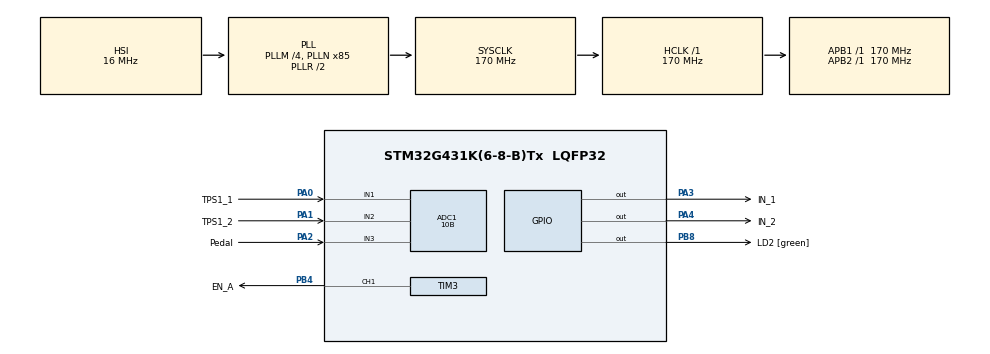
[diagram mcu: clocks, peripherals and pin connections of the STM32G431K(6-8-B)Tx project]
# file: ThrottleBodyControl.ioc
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ADC1.Channel-0\#ChannelRegularConversion=ADC_CHANNEL_1
ADC1.Channel-1\#ChannelRegularConversion=ADC_CHANNEL_2
ADC1.Channel-2\#ChannelRegularConversion=ADC_CHANNEL_3
ADC1.ContinuousConvMode=ENABLE
ADC1.DMAContinuousRequests=ENABLE
ADC1.NbrOfConversion=3
ADC1.NbrOfConversionFlag=1
ADC1.OffsetNumber-0\#ChannelRegularConversion=ADC_OFFSET_NONE
ADC1.OffsetNumber-1\#ChannelRegularConversion=ADC_OFFSET_NONE
ADC1.OffsetNumber-2\#ChannelRegularConversion=ADC_OFFSET_NONE
ADC1.Rank-0\#ChannelRegularConversion=1
ADC1.Rank-1\#ChannelRegularConversion=2
ADC1.Rank-2\#ChannelRegularConversion=3
ADC1.Resolution=ADC_RESOLUTION_10B
ADC1.SamplingTime-0\#ChannelRegularConversion=ADC_SAMPLETIME_12CYCLES_5
ADC1.SamplingTime-1\#ChannelRegularConversion=ADC_SAMPLETIME_12CYCLES_5
ADC1.SamplingTime-2\#ChannelRegularConversion=ADC_SAMPLETIME_12CYCLES_5
ADC1.master=1
Dma.ADC1.0.Direction=DMA_PERIPH_TO_MEMORY
Dma.ADC1.0.EventEnable=DISABLE
Dma.ADC1.0.Instance=DMA1_Channel1
Dma.ADC1.0.MemDataAlignment=DMA_MDATAALIGN_HALFWORD
Dma.ADC1.0.MemInc=DMA_MINC_ENABLE
Dma.ADC1.0.Mode=DMA_CIRCULAR
Dma.ADC1.0.PeriphDataAlignment=DMA_PDATAALIGN_HALFWORD
Dma.ADC1.0.PeriphInc=DMA_PINC_DISABLE
Dma.ADC1.0.Polarity=HAL_DMAMUX_REQ_GEN_RISING
Dma.ADC1.0.Priority=DMA_PRIORITY_LOW
Dma.ADC1.0.RequestNumber=1
Dma.ADC1.0.SignalID=NONE
Dma.ADC1.0.SyncEnable=DISABLE
Dma.ADC1.0.SyncPolarity=HAL_DMAMUX_SYNC_NO_EVENT
Dma.ADC1.0.SyncRequestNumber=1
Dma.ADC1.0.SyncSignalID=NONE
Dma.Request0=ADC1
Mcu.Family=STM32G4
Mcu.Name=STM32G431K(6-8-B)Tx
Mcu.Package=LQFP32
NVIC.DMA1_Channel1_IRQn=true\:0\:0\:false\:false\:true\:false\:true\:true
NVIC.PriorityGroup=NVIC_PRIORITYGROUP_4
PA0.GPIO_Label=TPS1_1
PA0.Mode=IN1-Single-Ended
PA0.Signal=ADC1_IN1
PA1.GPIO_Label=TPS1_2
PA1.Mode=IN2-Single-Ended
PA1.Signal=ADC1_IN2
PA13.GPIO_Label=T_SWDIO
PA13.Mode=Serial_Wire
PA13.Signal=SYS_JTMS-SWDIO
PA14.GPIO_Label=T_SWCLK
PA14.Mode=Serial_Wire
PA14.Signal=SYS_JTCK-SWCLK
PA2.GPIO_Label=Pedal
PA2.Mode=IN3-Single-Ended
PA2.Signal=ADC1_IN3
PA3.GPIO_Label=IN_1
PA3.GPIO_PuPd=GPIO_PULLDOWN
PA3.PinState=GPIO_PIN_SET
PA3.Signal=GPIO_Output
PA4.GPIO_Label=IN_2
PA4.GPIO_PuPd=GPIO_PULLDOWN
PA4.Signal=GPIO_Output
PB3.GPIO_Label=T_SWO
PB3.Signal=SYS_JTDO-SWO
PB4.GPIO_Label=EN_A
PB4.Signal=S_TIM3_CH1
PB8-BOOT0.GPIO_Label=LD2 [green]
PB8-BOOT0.Signal=GPIO_Output
ProjectManager.HeapSize=0x200
ProjectManager.StackSize=0x400
ProjectManager.TargetToolchain=STM32CubeIDE
RCC.ADC12Freq_Value=170000000
RCC.AHBFreq_Value=170000000
RCC.APB1Freq_Value=170000000
RCC.APB1TimFreq_Value=170000000
RCC.APB2Freq_Value=170000000
RCC.APB2TimFreq_Value=170000000
RCC.CortexFreq_Value=170000000
RCC.EXTERNAL_CLOCK_VALUE=12288000
RCC.HCLKFreq_Value=170000000
RCC.HSE_VALUE=8000000
RCC.HSI48_VALUE=48000000
RCC.HSI_VALUE=16000000
RCC.LSE_VALUE=32768
RCC.PLLM=RCC_PLLM_DIV4
RCC.PLLN=85
RCC.SYSCLKFreq_VALUE=170000000
RCC.SYSCLKSource=RCC_SYSCLKSOURCE_PLLCLK
RCC.USBFreq_Value=170000000
RCC.VCOOutputFreq_Value=340000000
SH.S_TIM3_CH1.0=TIM3_CH1,PWM Generation1 CH1
TIM3.AutoReloadPreload=TIM_AUTORELOAD_PRELOAD_ENABLE
TIM3.Channel-PWM\ Generation1\ CH1=TIM_CHANNEL_1
TIM3.OCMode_PWM-PWM\ Generation1\ CH1=TIM_OCMODE_PWM1
TIM3.PeriodNoDither=1024-1
TIM3.Prescaler=333-1
VP_SYS_VS_DBSignals.Mode=DisableDeadBatterySignals
VP_TIM3_VS_ClockSourceINT.Mode=Internal
board=NUCLEO-G431KB

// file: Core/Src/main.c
/* USER CODE BEGIN Header */
/**
  ******************************************************************************
  * @file           : main.c
  * @brief          : Main program body
  ******************************************************************************
  * @attention
  *
  * Copyright (c) 2025 STMicroelectronics.
  * All rights reserved.
  *
  * This software is licensed under terms that can be found in the LICENSE file
  * in the root directory of this software component.
  * If no LICENSE file comes with this software, it is provided AS-IS.
  *
  ******************************************************************************
  */
/* USER CODE END Header */
#include "main.h"

/* USER CODE BEGIN Includes */
#include "pid.h"
/* USER CODE END Includes */

ADC_HandleTypeDef hadc1;
DMA_HandleTypeDef hdma_adc1;

TIM_HandleTypeDef htim3;

/* USER CODE BEGIN PV */

uint16_t adc_convertions[3] = {0};

float p_gain = 8.0;
float i_gain = 0.102;
float d_gain = 30.0;

// pwm freq = 500Hz.

/*
tps closed:
sensor 1: 0.5v
sensor 2: 2.8v

tps opened:
sensor 1: 3.2v
sensor 2: 0.2v
*/

PID_TypeDef TPID;
double tpsPercent = 0, pedalPercent = 0;

/* USER CODE END PV */

void SystemClock_Config(void);
static void MX_GPIO_Init(void);
static void MX_DMA_Init(void);
static void MX_ADC1_Init(void);
static void MX_TIM3_Init(void);

int main(void)
{

  /* USER CODE BEGIN 1 */

	uint16_t pedal_value = 0, tps1_raw = 0;
	float tps1_voltage = 0;

  /* USER CODE END 1 */

  /* MCU Configuration--------------------------------------------------------*/

  /* Reset of all peripherals, Initializes the Flash interface and the Systick. */
  HAL_Init();

  /* Configure the system clock */
  SystemClock_Config();

  /* Initialize all configured peripherals */
  MX_GPIO_Init();
  MX_DMA_Init();
  MX_ADC1_Init();
  MX_TIM3_Init();
  /* USER CODE BEGIN 2 */

  if (HAL_ADC_Start_DMA(&hadc1, (uint32_t*) adc_convertions, 3) != HAL_OK)
    {
  	  Error_Handler();
    }

  htim3.Instance->CCR1 = 330;

  if (HAL_TIM_PWM_Start(&htim3, TIM_CHANNEL_1) != HAL_OK)
  {
	  Error_Handler();
  }

  // set IN_1 high
  HAL_GPIO_WritePin(GPIOA, IN_1_Pin, GPIO_PIN_SET);

  // set IN_1 low
  HAL_GPIO_WritePin(GPIOA, IN_2_Pin, GPIO_PIN_RESET);

  /* USER CODE END 2 */

  /* Infinite loop */
  /* USER CODE BEGIN WHILE */

  // pwn min: 45%

  // htim3.Instance->CCR1 = 1024 * 0.58;

  uint32_t pwmValue = 0;

  while (1)
  {

	  tps1_raw = adc_convertions[0];
	  pedal_value = adc_convertions[2];

	  tps1_voltage = (3.3/1024.0 * tps1_raw);

	  pedalPercent  = (pedal_value / 1024.0) * 100;	// das ist setPoint, da will ich hin

	  tpsPercent = 0 + ((100-0)/(3.2-0.5))*(tps1_voltage - 0.5);

	  if (tpsPercent < 0)
		  tpsPercent = 0;

	  PID_Compute(&TPID);

	  pwmValue = (uint32_t) PIDOut;

	  htim3.Instance->CCR1 = pedal_value;

	  HAL_Delay(100);

	  // htim3.Instance->CCR1 = adc_convertions[2];

    /* USER CODE END WHILE */

  }
}

void SystemClock_Config(void)
{
  RCC_OscInitTypeDef RCC_OscInitStruct = {0};
  RCC_ClkInitTypeDef RCC_ClkInitStruct = {0};

  /** Configure the main internal regulator output voltage
  */
  HAL_PWREx_ControlVoltageScaling(PWR_REGULATOR_VOLTAGE_SCALE1_BOOST);

  /** Initializes the RCC Oscillators according to the specified parameters
  * in the RCC_OscInitTypeDef structure.
  */
  RCC_OscInitStruct.OscillatorType = RCC_OSCILLATORTYPE_HSI;
  RCC_OscInitStruct.HSIState = RCC_HSI_ON;
  RCC_OscInitStruct.HSICalibrationValue = RCC_HSICALIBRATION_DEFAULT;
  RCC_OscInitStruct.PLL.PLLState = RCC_PLL_ON;
  RCC_OscInitStruct.PLL.PLLSource = RCC_PLLSOURCE_HSI;
  RCC_OscInitStruct.PLL.PLLM = RCC_PLLM_DIV4;
  RCC_OscInitStruct.PLL.PLLN = 85;
  RCC_OscInitStruct.PLL.PLLP = RCC_PLLP_DIV2;
  RCC_OscInitStruct.PLL.PLLQ = RCC_PLLQ_DIV2;
  RCC_OscInitStruct.PLL.PLLR = RCC_PLLR_DIV2;
  if (HAL_RCC_OscConfig(&RCC_OscInitStruct) != HAL_OK)
  {
    Error_Handler();
  }

  /** Initializes the CPU, AHB and APB buses clocks
  */
  RCC_ClkInitStruct.ClockType = RCC_CLOCKTYPE_HCLK|RCC_CLOCKTYPE_SYSCLK
                              |RCC_CLOCKTYPE_PCLK1|RCC_CLOCKTYPE_PCLK2;
  RCC_ClkInitStruct.SYSCLKSource = RCC_SYSCLKSOURCE_PLLCLK;
  RCC_ClkInitStruct.AHBCLKDivider = RCC_SYSCLK_DIV1;
  RCC_ClkInitStruct.APB1CLKDivider = RCC_HCLK_DIV1;
  RCC_ClkInitStruct.APB2CLKDivider = RCC_HCLK_DIV1;

  if (HAL_RCC_ClockConfig(&RCC_ClkInitStruct, FLASH_LATENCY_4) != HAL_OK)
  {
    Error_Handler();
  }
}

static void MX_ADC1_Init(void)
{

  ADC_MultiModeTypeDef multimode = {0};
  ADC_ChannelConfTypeDef sConfig = {0};

  /** Common config
  */
  hadc1.Instance = ADC1;
  hadc1.Init.ClockPrescaler = ADC_CLOCK_SYNC_PCLK_DIV4;
  hadc1.Init.Resolution = ADC_RESOLUTION_10B;
  hadc1.Init.DataAlign = ADC_DATAALIGN_RIGHT;
  hadc1.Init.GainCompensation = 0;
  hadc1.Init.ScanConvMode = ADC_SCAN_ENABLE;
  hadc1.Init.EOCSelection = ADC_EOC_SINGLE_CONV;
  hadc1.Init.LowPowerAutoWait = DISABLE;
  hadc1.Init.ContinuousConvMode = ENABLE;
  hadc1.Init.NbrOfConversion = 3;
  hadc1.Init.DiscontinuousConvMode = DISABLE;
  hadc1.Init.ExternalTrigConv = ADC_SOFTWARE_START;
  hadc1.Init.ExternalTrigConvEdge = ADC_EXTERNALTRIGCONVEDGE_NONE;
  hadc1.Init.DMAContinuousRequests = ENABLE;
  hadc1.Init.Overrun = ADC_OVR_DATA_PRESERVED;
  hadc1.Init.OversamplingMode = DISABLE;
  if (HAL_ADC_Init(&hadc1) != HAL_OK)
  {
    Error_Handler();
  }

  /** Configure the ADC multi-mode
  */
  multimode.Mode = ADC_MODE_INDEPENDENT;
  if (HAL_ADCEx_MultiModeConfigChannel(&hadc1, &multimode) != HAL_OK)
  {
    Error_Handler();
  }

  /** Configure Regular Channel
  */
  sConfig.Channel = ADC_CHANNEL_1;
  sConfig.Rank = ADC_REGULAR_RANK_1;
  sConfig.SamplingTime = ADC_SAMPLETIME_12CYCLES_5;
  sConfig.SingleDiff = ADC_SINGLE_ENDED;
  sConfig.OffsetNumber = ADC_OFFSET_NONE;
  sConfig.Offset = 0;
  if (HAL_ADC_ConfigChannel(&hadc1, &sConfig) != HAL_OK)
  {
    Error_Handler();
  }

  /** Configure Regular Channel
  */
  sConfig.Channel = ADC_CHANNEL_2;
  sConfig.Rank = ADC_REGULAR_RANK_2;
  if (HAL_ADC_ConfigChannel(&hadc1, &sConfig) != HAL_OK)
  {
    Error_Handler();
  }

  /** Configure Regular Channel
  */
  sConfig.Channel = ADC_CHANNEL_3;
  sConfig.Rank = ADC_REGULAR_RANK_3;
  if (HAL_ADC_ConfigChannel(&hadc1, &sConfig) != HAL_OK)
  {
    Error_Handler();
  }
  /* USER CODE BEGIN ADC1_Init 2 */

  if (HAL_ADCEx_Calibration_Start(&hadc1, ADC_SINGLE_ENDED) != HAL_OK)
    {
  	  Error_Handler();
    }

  /* USER CODE END ADC1_Init 2 */

}

static void MX_TIM3_Init(void)
{

  TIM_ClockConfigTypeDef sClockSourceConfig = {0};
  TIM_MasterConfigTypeDef sMasterConfig = {0};
  TIM_OC_InitTypeDef sConfigOC = {0};

  htim3.Instance = TIM3;
  htim3.Init.Prescaler = 333-1;
  htim3.Init.CounterMode = TIM_COUNTERMODE_UP;
  htim3.Init.Period = 1023;
  htim3.Init.ClockDivision = TIM_CLOCKDIVISION_DIV1;
  htim3.Init.AutoReloadPreload = TIM_AUTORELOAD_PRELOAD_ENABLE;
  if (HAL_TIM_Base_Init(&htim3) != HAL_OK)
  {
    Error_Handler();
  }
  sClockSourceConfig.ClockSource = TIM_CLOCKSOURCE_INTERNAL;
  if (HAL_TIM_ConfigClockSource(&htim3, &sClockSourceConfig) != HAL_OK)
  {
    Error_Handler();
  }
  if (HAL_TIM_PWM_Init(&htim3) != HAL_OK)
  {
    Error_Handler();
  }
  sMasterConfig.MasterOutputTrigger = TIM_TRGO_RESET;
  sMasterConfig.MasterSlaveMode = TIM_MASTERSLAVEMODE_DISABLE;
  if (HAL_TIMEx_MasterConfigSynchronization(&htim3, &sMasterConfig) != HAL_OK)
  {
    Error_Handler();
  }
  sConfigOC.OCMode = TIM_OCMODE_PWM1;
  sConfigOC.Pulse = 0;
  sConfigOC.OCPolarity = TIM_OCPOLARITY_HIGH;
  sConfigOC.OCFastMode = TIM_OCFAST_DISABLE;
  if (HAL_TIM_PWM_ConfigChannel(&htim3, &sConfigOC, TIM_CHANNEL_1) != HAL_OK)
  {
    Error_Handler();
  }
  HAL_TIM_MspPostInit(&htim3);

}

static void MX_DMA_Init(void)
{

  /* DMA controller clock enable */
  __HAL_RCC_DMAMUX1_CLK_ENABLE();
  __HAL_RCC_DMA1_CLK_ENABLE();

  /* DMA interrupt init */
  /* DMA1_Channel1_IRQn interrupt configuration */
  HAL_NVIC_SetPriority(DMA1_Channel1_IRQn, 0, 0);
  HAL_NVIC_EnableIRQ(DMA1_Channel1_IRQn);

}

static void MX_GPIO_Init(void)
{
  GPIO_InitTypeDef GPIO_InitStruct = {0};

  /* GPIO Ports Clock Enable */
  __HAL_RCC_GPIOA_CLK_ENABLE();
  __HAL_RCC_GPIOB_CLK_ENABLE();

  /*Configure GPIO pin Output Level */
  HAL_GPIO_WritePin(IN_1_GPIO_Port, IN_1_Pin, GPIO_PIN_SET);

  /*Configure GPIO pin Output Level */
  HAL_GPIO_WritePin(IN_2_GPIO_Port, IN_2_Pin, GPIO_PIN_RESET);

  /*Configure GPIO pin Output Level */
  HAL_GPIO_WritePin(LD2_GPIO_Port, LD2_Pin, GPIO_PIN_RESET);

  /*Configure GPIO pins : IN_1_Pin IN_2_Pin */
  GPIO_InitStruct.Pin = IN_1_Pin|IN_2_Pin;
  GPIO_InitStruct.Mode = GPIO_MODE_OUTPUT_PP;
  GPIO_InitStruct.Pull = GPIO_PULLDOWN;
  GPIO_InitStruct.Speed = GPIO_SPEED_FREQ_LOW;
  HAL_GPIO_Init(GPIOA, &GPIO_InitStruct);

  /*Configure GPIO pin : LD2_Pin */
  GPIO_InitStruct.Pin = LD2_Pin;
  GPIO_InitStruct.Mode = GPIO_MODE_OUTPUT_PP;
  GPIO_InitStruct.Pull = GPIO_NOPULL;
  GPIO_InitStruct.Speed = GPIO_SPEED_FREQ_LOW;
  HAL_GPIO_Init(LD2_GPIO_Port, &GPIO_InitStruct);

}

void Error_Handler(void)
{
  __disable_irq();
  while (1)
  {
  }
}
